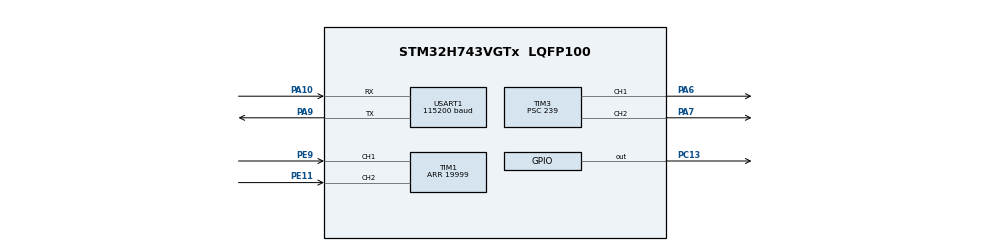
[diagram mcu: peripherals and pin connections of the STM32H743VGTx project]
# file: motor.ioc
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CORTEX_M7.CPU_DCache=Disabled
CORTEX_M7.CPU_ICache=Disabled
Dma.Request0=USART1_RX
Dma.Request1=USART1_TX
Dma.USART1_RX.0.Direction=DMA_PERIPH_TO_MEMORY
Dma.USART1_RX.0.EventEnable=DISABLE
Dma.USART1_RX.0.FIFOMode=DMA_FIFOMODE_DISABLE
Dma.USART1_RX.0.Instance=DMA1_Stream0
Dma.USART1_RX.0.MemDataAlignment=DMA_MDATAALIGN_BYTE
Dma.USART1_RX.0.MemInc=DMA_MINC_ENABLE
Dma.USART1_RX.0.Mode=DMA_CIRCULAR
Dma.USART1_RX.0.PeriphDataAlignment=DMA_PDATAALIGN_BYTE
Dma.USART1_RX.0.PeriphInc=DMA_PINC_DISABLE
Dma.USART1_RX.0.Polarity=HAL_DMAMUX_REQ_GEN_RISING
Dma.USART1_RX.0.Priority=DMA_PRIORITY_HIGH
Dma.USART1_RX.0.RequestNumber=1
Dma.USART1_RX.0.SignalID=NONE
Dma.USART1_RX.0.SyncEnable=DISABLE
Dma.USART1_RX.0.SyncPolarity=HAL_DMAMUX_SYNC_NO_EVENT
Dma.USART1_RX.0.SyncRequestNumber=1
Dma.USART1_RX.0.SyncSignalID=NONE
Dma.USART1_TX.1.Direction=DMA_MEMORY_TO_PERIPH
Dma.USART1_TX.1.EventEnable=DISABLE
Dma.USART1_TX.1.FIFOMode=DMA_FIFOMODE_DISABLE
Dma.USART1_TX.1.Instance=DMA1_Stream1
Dma.USART1_TX.1.MemDataAlignment=DMA_MDATAALIGN_BYTE
Dma.USART1_TX.1.MemInc=DMA_MINC_ENABLE
Dma.USART1_TX.1.Mode=DMA_CIRCULAR
Dma.USART1_TX.1.PeriphDataAlignment=DMA_PDATAALIGN_BYTE
Dma.USART1_TX.1.PeriphInc=DMA_PINC_DISABLE
Dma.USART1_TX.1.Polarity=HAL_DMAMUX_REQ_GEN_RISING
Dma.USART1_TX.1.Priority=DMA_PRIORITY_HIGH
Dma.USART1_TX.1.RequestNumber=1
Dma.USART1_TX.1.SignalID=NONE
Dma.USART1_TX.1.SyncEnable=DISABLE
Dma.USART1_TX.1.SyncPolarity=HAL_DMAMUX_SYNC_NO_EVENT
Dma.USART1_TX.1.SyncRequestNumber=1
Dma.USART1_TX.1.SyncSignalID=NONE
Mcu.Family=STM32H7
Mcu.Name=STM32H743VGTx
Mcu.Package=LQFP100
NVIC.DMA1_Stream0_IRQn=true\:0\:0\:false\:false\:true\:false\:true\:true
NVIC.DMA1_Stream1_IRQn=true\:1\:0\:true\:false\:true\:false\:true\:true
NVIC.PriorityGroup=NVIC_PRIORITYGROUP_4
NVIC.TIM1_CC_IRQn=true\:0\:0\:false\:false\:true\:true\:true\:true
NVIC.TIM3_IRQn=true\:0\:0\:false\:false\:true\:true\:true\:true
NVIC.USART1_IRQn=true\:1\:0\:true\:false\:true\:true\:true\:true
PA10.Mode=Asynchronous
PA10.Signal=USART1_RX
PA13\ (JTMS/SWDIO).Signal=DEBUG_JTMS-SWDIO
PA14\ (JTCK/SWCLK).Signal=DEBUG_JTCK-SWCLK
PA6.Signal=S_TIM3_CH1
PA7.Signal=S_TIM3_CH2
PA9.Mode=Asynchronous
PA9.Signal=USART1_TX
PC13.GPIO_PuPd=GPIO_PULLUP
PC13.PinState=GPIO_PIN_SET
PC13.Signal=GPIO_Output
PC14-OSC32_IN\ (OSC32_IN).Mode=LSE-External-Oscillator
PC14-OSC32_IN\ (OSC32_IN).Signal=RCC_OSC32_IN
PC15-OSC32_OUT\ (OSC32_OUT).Mode=LSE-External-Oscillator
PC15-OSC32_OUT\ (OSC32_OUT).Signal=RCC_OSC32_OUT
PE11.Signal=S_TIM1_CH2
PE9.Signal=S_TIM1_CH1
PH0-OSC_IN\ (PH0).Mode=HSE-External-Oscillator
PH0-OSC_IN\ (PH0).Signal=RCC_OSC_IN
PH1-OSC_OUT\ (PH1).Mode=HSE-External-Oscillator
PH1-OSC_OUT\ (PH1).Signal=RCC_OSC_OUT
ProjectManager.HeapSize=0x200
ProjectManager.StackSize=0x400
ProjectManager.TargetToolchain=STM32CubeIDE
RCC.ADCFreq_Value=50390625
RCC.APB1Freq_Value=120000000
RCC.APB2Freq_Value=120000000
RCC.APB3Freq_Value=120000000
RCC.APB4Freq_Value=120000000
RCC.CortexFreq_Value=480000000
RCC.D1PPRE=RCC_APB3_DIV2
RCC.D2PPRE1=RCC_APB1_DIV2
RCC.D2PPRE2=RCC_APB2_DIV2
RCC.D3PPRE=RCC_APB4_DIV2
RCC.DIVM1=5
RCC.DIVN1=192
RCC.DIVQ1=8
RCC.FLatency=FLASH_LATENCY_4
RCC.HCLKFreq_Value=240000000
RCC.HPRE=RCC_HCLK_DIV2
RCC.HSE_VALUE=25000000
RCC.PLL2FRACN=0
RCC.PLL3FRACN=0
RCC.PLLFRACN=0
RCC.PLLSourceVirtual=RCC_PLLSOURCE_HSE
RCC.PWR_Regulator_Voltage_Scale=PWR_REGULATOR_VOLTAGE_SCALE0
RCC.SYSCLKFreq_VALUE=480000000
RCC.SYSCLKSource=RCC_SYSCLKSOURCE_PLLCLK
RCC.SupplySource=PWR_LDO_SUPPLY
RCC.USBFreq_Value=120000000
SH.S_TIM1_CH1.0=TIM1_CH1,Input_Capture1_from_TI1
SH.S_TIM1_CH2.0=TIM1_CH2,Input_Capture2_from_TI2
SH.S_TIM3_CH1.0=TIM3_CH1,PWM Generation1 CH1
SH.S_TIM3_CH2.0=TIM3_CH2,PWM Generation2 CH2
TIM1.Channel-Input_Capture1_from_TI1=TIM_CHANNEL_1
TIM1.Channel-Input_Capture2_from_TI2=TIM_CHANNEL_2
TIM1.ICPolarity_CH1=TIM_INPUTCHANNELPOLARITY_BOTHEDGE
TIM1.ICPolarity_CH2=TIM_INPUTCHANNELPOLARITY_BOTHEDGE
TIM1.Period=19999
TIM3.Channel-PWM\ Generation1\ CH1=TIM_CHANNEL_1
TIM3.Channel-PWM\ Generation2\ CH2=TIM_CHANNEL_2
TIM3.OCPolarity_1=TIM_OCPOLARITY_LOW
TIM3.OCPolarity_2=TIM_OCPOLARITY_LOW
TIM3.Period=9999
TIM3.Prescaler=239
USART1.BaudRate=115200
USART1.VirtualMode-Asynchronous=VM_ASYNC
VP_TIM1_VS_ClockSourceINT.Mode=Internal
VP_TIM3_VS_ClockSourceINT.Mode=Internal
board=custom

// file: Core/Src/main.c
/* USER CODE BEGIN Header */
/**
  ******************************************************************************
  * @file           : main.c
  * @brief          : Main program body
  ******************************************************************************
  * @attention
  *
  * Copyright (c) 2024 STMicroelectronics.
  * All rights reserved.
  *
  * This software is licensed under terms that can be found in the LICENSE file
  * in the root directory of this software component.
  * If no LICENSE file comes with this software, it is provided AS-IS.
  *
  ******************************************************************************
  */
/* USER CODE END Header */
#include "main.h"
#include "dma.h"
#include "tim.h"
#include "usart.h"
#include "gpio.h"

/* USER CODE BEGIN PV */
uint8_t rxBuffer[BUF_SIZE] = "goal:0.000000\n";
char buffer[BUF_SIZE];

uint64_t value;
uint64_t lastValue;
float goal = 0;
float angular;
/* USER CODE END PV */

void SystemClock_Config(void);

int main(void)
{

  /* MCU Configuration--------------------------------------------------------*/

  /* Reset of all peripherals, Initializes the Flash interface and the Systick. */
  LL_APB4_GRP1_EnableClock(LL_APB4_GRP1_PERIPH_SYSCFG);

  /* System interrupt init*/
  NVIC_SetPriorityGrouping(NVIC_PRIORITYGROUP_4);

  /* SysTick_IRQn interrupt configuration */
  NVIC_SetPriority(SysTick_IRQn, NVIC_EncodePriority(NVIC_GetPriorityGrouping(),15, 0));

  /* Configure the system clock */
  SystemClock_Config();

  /* Initialize all configured peripherals */
  MX_GPIO_Init();
  MX_DMA_Init();
  MX_TIM1_Init();
  MX_TIM3_Init();
  MX_USART1_UART_Init();
  /* USER CODE BEGIN 2 */
    pwmInit();
//    /*
//     * PWM:
//     *      CH1 -> PA6
//     *      CH2 -> PA7
//     *
//     * COMPARE:
//     *      CH1 -> PE9
//     *      CH2 -> PE11
//     */
    PID_Init(&pid, 250, 0.075, 0.125, 2000, 10000);
//    LL_TIM_OC_SetCompareCH1(TIM3, 10000);
//    LL_TIM_OC_SetCompareCH2(TIM3, 0);
    LL_USART_EnableIT_RXNE(USART1);
    LL_USART_EnableIT_IDLE(USART1);
    LL_DMA_EnableIT_TC(DMA1, LL_DMA_STREAM_0);
    LL_DMA_EnableIT_TC(DMA1, LL_DMA_STREAM_1);
    LL_DMA_EnableStream(DMA1, LL_DMA_STREAM_0);
    LL_DMA_EnableStream(DMA1, LL_DMA_STREAM_1);
    LL_USART_EnableDMAReq_RX(USART1);
    LL_USART_EnableDMAReq_TX(USART1);

  /* USER CODE END 2 */

  /* Infinite loop */
  /* USER CODE BEGIN WHILE */
    while (1) {
        send();
        LL_mDelay(10);
    /* USER CODE END WHILE */

    }
}

void SystemClock_Config(void)
{
  LL_FLASH_SetLatency(LL_FLASH_LATENCY_4);
  while(LL_FLASH_GetLatency()!= LL_FLASH_LATENCY_4)
  {
  }
  LL_PWR_ConfigSupply(LL_PWR_LDO_SUPPLY);
  LL_PWR_SetRegulVoltageScaling(LL_PWR_REGU_VOLTAGE_SCALE0);
  while (LL_PWR_IsActiveFlag_VOS() == 0)
  {
  }
  LL_RCC_HSE_Enable();

   /* Wait till HSE is ready */
  while(LL_RCC_HSE_IsReady() != 1)
  {

  }
  LL_RCC_PLL_SetSource(LL_RCC_PLLSOURCE_HSE);
  LL_RCC_PLL1P_Enable();
  LL_RCC_PLL1_SetVCOInputRange(LL_RCC_PLLINPUTRANGE_4_8);
  LL_RCC_PLL1_SetVCOOutputRange(LL_RCC_PLLVCORANGE_WIDE);
  LL_RCC_PLL1_SetM(5);
  LL_RCC_PLL1_SetN(192);
  LL_RCC_PLL1_SetP(2);
  LL_RCC_PLL1_SetQ(8);
  LL_RCC_PLL1_SetR(2);
  LL_RCC_PLL1_Enable();

   /* Wait till PLL is ready */
  while(LL_RCC_PLL1_IsReady() != 1)
  {
  }

   /* Intermediate AHB prescaler 2 when target frequency clock is higher than 80 MHz */
   LL_RCC_SetAHBPrescaler(LL_RCC_AHB_DIV_2);

  LL_RCC_SetSysClkSource(LL_RCC_SYS_CLKSOURCE_PLL1);

   /* Wait till System clock is ready */
  while(LL_RCC_GetSysClkSource() != LL_RCC_SYS_CLKSOURCE_STATUS_PLL1)
  {

  }
  LL_RCC_SetSysPrescaler(LL_RCC_SYSCLK_DIV_1);
  LL_RCC_SetAHBPrescaler(LL_RCC_AHB_DIV_2);
  LL_RCC_SetAPB1Prescaler(LL_RCC_APB1_DIV_2);
  LL_RCC_SetAPB2Prescaler(LL_RCC_APB2_DIV_2);
  LL_RCC_SetAPB3Prescaler(LL_RCC_APB3_DIV_2);
  LL_RCC_SetAPB4Prescaler(LL_RCC_APB4_DIV_2);

  LL_Init1msTick(480000000);

  LL_SetSystemCoreClock(480000000);
}

/* USER CODE BEGIN 4 */
float* judge() {
    switch (rxBuffer[0]) {
        case 'k':
            switch (rxBuffer[1]) {
                case 'p':
                    return &pid.kp;

                case 'i':
                    return &pid.ki;

                case 'd':
                    return &pid.kd;
            }

        case 'g':
            return &goal;
    }
}

void extract() {
    uint8_t i = 0;
    float *target = judge();
    for (i = 0; i < BUF_SIZE; i++) {
        if (rxBuffer[i] == ':') {
            *target = 0;
            break;
        }
    }
    for (i++; i < BUF_SIZE; i++) {
        if (rxBuffer[i] == '.') {
            *target += (rxBuffer[i + 1] - '0') * 0.1;
            *target += (rxBuffer[i + 2] - '0') * 0.01;
            *target += (rxBuffer[i + 3] - '0') * 0.001;
            break;
        }
        *target *= 10;
        *target = *target + rxBuffer[i] - '0';
    }
}

/* USER CODE END 4 */

void Error_Handler(void)
{
  __disable_irq();
  while (1)
  {
  }
}
